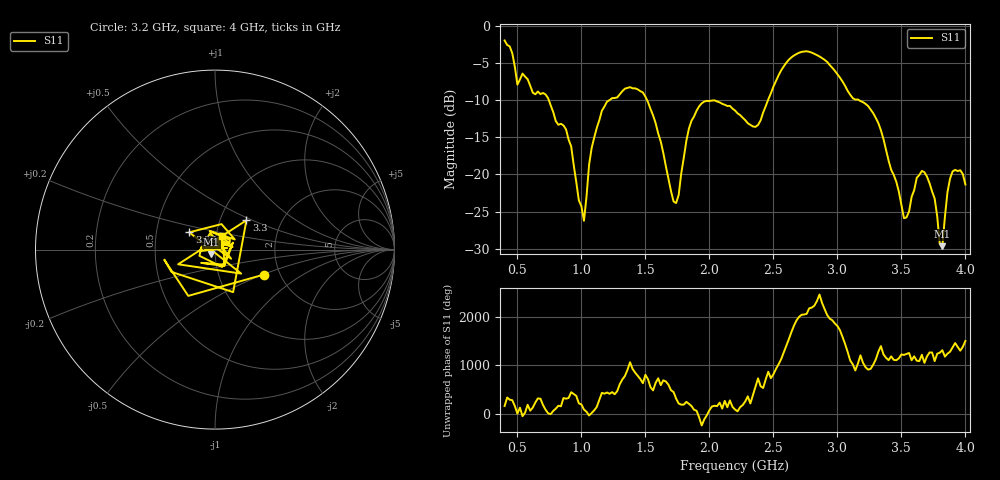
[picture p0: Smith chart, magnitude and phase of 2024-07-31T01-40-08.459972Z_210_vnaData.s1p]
!Created with skrf (http://scikit-rf.org).
# Hz S RI R 50.0
!freq ReS11 ImS11
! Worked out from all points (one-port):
!   181 points, 400 MHz to 4 GHz, reference 50 ohm
!   lowest |S11| = -29.7 dB at 3.82 GHz (marker M1), VSWR 1.07, Z = 48 - j2.5 ohm
!   |S11| at or under -10 dB: 745 MHz to 1.221 GHz (476.3 MHz wide, 48.4 % of centre); 1.512 GHz to 2.458 GHz (945.9 MHz wide, 47.6 % of centre); 3.166 GHz to end of sweep
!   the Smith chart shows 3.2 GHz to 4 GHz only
!   S11 on the Smith chart (normalised r, x): 3.2 GHz: 1.65, -0.51; 3.3 GHz: 1.33, +0.46; 3.36 GHz: 0.74, +0.15; 4 GHz: 1.07, +0.16
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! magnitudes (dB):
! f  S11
! 400 MHz  -2.0
! 500 MHz  -7.9
! 860 MHz  -13.4
! 1.02 GHz  -26.2
! 1.06 GHz  -18.7
! 1.12 GHz  -13.8
! 1.3 GHz  -9.2
! 1.5 GHz  -9.6
! 1.72 GHz  -23.6
! 1.76 GHz  -22.8
! 1.84 GHz  -13.8
! 1.92 GHz  -10.8
! 2.2 GHz  -11.4
! 2.38 GHz  -13.4
! 2.66 GHz  -4.0
! 2.9 GHz  -4.6
! 3.1 GHz  -9.3
! 3.2 GHz  -10.3
! 3.3 GHz  -12.4
! 3.36 GHz  -15.3
! 3.52 GHz  -25.9
! 3.56 GHz  -25.0
! 3.68 GHz  -19.7
! 3.76 GHz  -23.3
! 3.82 GHz  -29.7
! 3.86 GHz  -22.4
! 3.9 GHz  -19.6
! 4 GHz  -21.4
